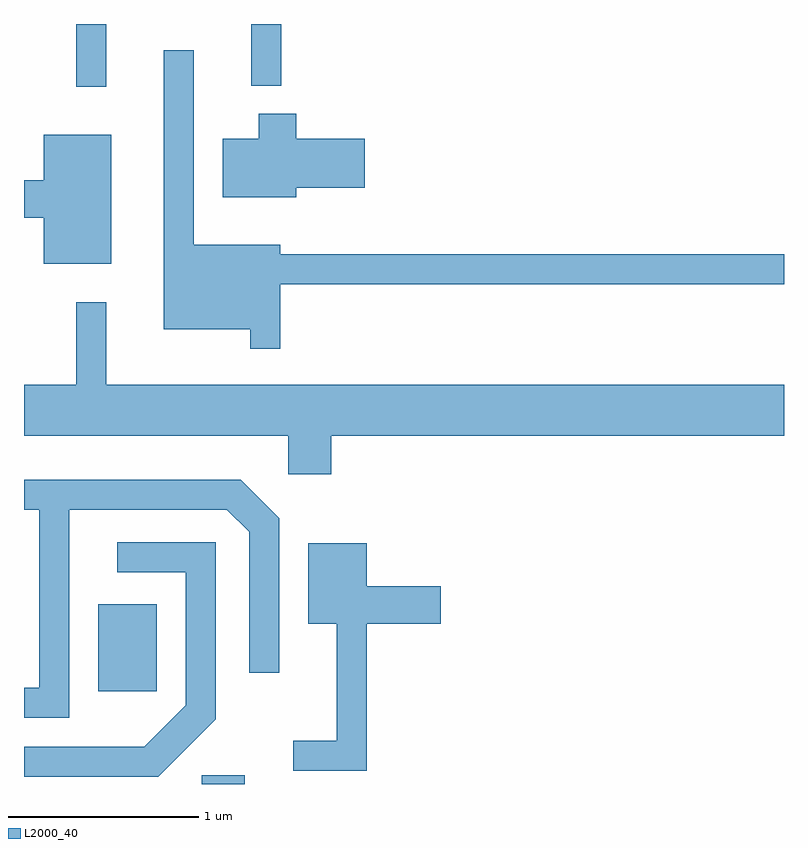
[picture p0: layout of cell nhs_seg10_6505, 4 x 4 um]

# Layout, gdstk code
import gdstk
lib = gdstk.Library(unit=1e-6, precision=1e-09)
def R(c, l, rs):  # rectangles x0, y0, x1, y1
    for r in rs: c.add(gdstk.rectangle(r[:2], r[2:], *l))
def P(c, l, *ps):  # polygons
    for p in ps: c.add(gdstk.Polygon(p, *l))
L2000_40 = (2000, 40)

nhs_seg10_6505 = lib.new_cell('nhs_seg10_6505')
R(nhs_seg10_6505, L2000_40, [(378.546,2116.522,378.774,2116.569), (378.001,2117.011,378.309,2117.469), (377.886,2120.193,378.044,2120.522), (378.806,2120.198,378.964,2120.522)])
P(nhs_seg10_6505, L2000_40, [(378.959,2119.151),(381.611,2119.151),(381.611,2119.309),(378.959,2119.309),(378.959,2119.359),(378.504,2119.359),(378.504,2120.383),(378.346,2120.383),(378.346,2118.916),(378.801,2118.916),(378.801,2118.813),(378.959,2118.813)],
  [(379.044,2119.661),(379.404,2119.661),(379.404,2119.919),(379.044,2119.919),(379.044,2120.049),(378.846,2120.049),(378.846,2119.919),(378.656,2119.919),(378.656,2119.611),(379.044,2119.611)],
  [(378.069,2119.939),(377.716,2119.939),(377.716,2119.699),(377.611,2119.699),(377.611,2119.501),(377.716,2119.501),(377.716,2119.261),(378.069,2119.261)],
  [(379.229,2118.356),(381.611,2118.356),(381.611,2118.624),(378.044,2118.624),(378.044,2119.058),(377.886,2119.058),(377.886,2118.624),(377.611,2118.624),(377.611,2118.356),(379.001,2118.356),(379.001,2118.151),(379.229,2118.151)],
  [(377.849,2117.966),(378.679,2117.966),(378.796,2117.849),(378.796,2117.108),(378.954,2117.108),(378.954,2117.922),(378.752,2118.124),(377.613,2118.124),(377.613,2117.966),(377.691,2117.966),(377.691,2117.029),(377.611,2117.029),(377.611,2116.871),(377.849,2116.871)],
  [(378.619,2116.864),(378.619,2117.794),(378.103,2117.794),(378.103,2117.636),(378.461,2117.636),(378.461,2116.937),(378.244,2116.719),(377.611,2116.719),(377.611,2116.561),(378.317,2116.561)],
  [(379.414,2117.366),(379.804,2117.366),(379.804,2117.564),(379.414,2117.564),(379.414,2117.789),(379.106,2117.789),(379.106,2117.366),(379.256,2117.366),(379.256,2116.749),(379.028,2116.749),(379.028,2116.591),(379.414,2116.591)])

lib.write_gds('nhs_seg10_6505.gds')
